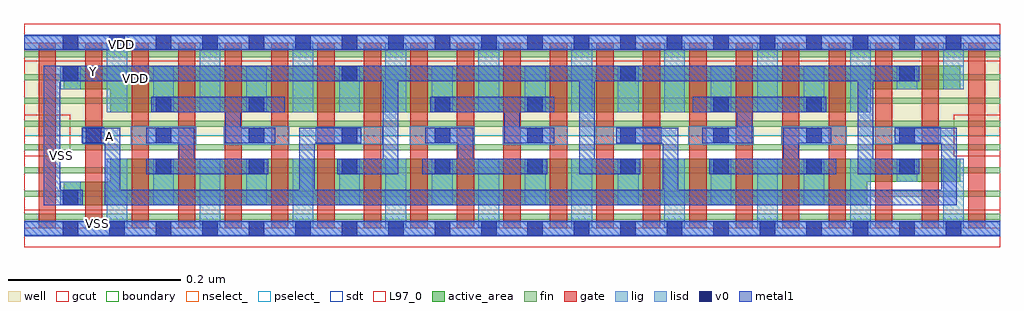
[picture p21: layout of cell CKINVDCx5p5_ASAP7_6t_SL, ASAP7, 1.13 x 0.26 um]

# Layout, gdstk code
import gdstk
lib = gdstk.Library(unit=1e-6, precision=2.5e-10)
def R(c, l, rs):  # rectangles x0, y0, x1, y1
    for r in rs: c.add(gdstk.rectangle(r[:2], r[2:], *l))
def A(c, l, x, y, w, h, nx, ny, dx, dy):  # array of equal rectangles
    R(c, l, [(x+i*dx, y+j*dy, x+i*dx+w, y+j*dy+h) for i in range(nx) for j in range(ny)])
def P(c, l, *ps):  # polygons
    for p in ps: c.add(gdstk.Polygon(p, *l))
well = (1, 0)
fin = (2, 0)
gate = (7, 0)
gcut = (10, 0)
active_area = (11, 0)
nselect_ = (12, 0)
pselect_ = (13, 0)
lig = (16, 0)
lisd = (17, 0)
v0 = (18, 0)
metal1 = (19, 0)
sdt = (88, 0)
L97_0 = (97, 0)
boundary = (100, 0)

ckinvdcx5p5_asap7_6t_sl = lib.new_cell('CKINVDCx5p5_ASAP7_6t_SL')
R(ckinvdcx5p5_asap7_6t_sl, well, [(0,0.108,1.134,0.216)])
A(ckinvdcx5p5_asap7_6t_sl, fin, 0, 0.01, 1.134, 0.007, 1, 8, 0, 0.027)
A(ckinvdcx5p5_asap7_6t_sl, gate, 0.017, 0, 0.02, 0.216, 21, 1, 0.054, 0)
R(ckinvdcx5p5_asap7_6t_sl, gcut, [(0,-0.022,1.134,0.022), (0,0.084,0.054,0.132), (1.08,0.084,1.134,0.132), (0,0.194,1.134,0.238)])
P(ckinvdcx5p5_asap7_6t_sl, active_area, [(1.088,0.189),(0.046,0.189),(0.046,0.162),(0.1,0.162),(0.1,0.135),(0.98,0.135),(0.98,0.162),(1.088,0.162)],
  [(1.088,0.081),(0.1,0.081),(0.1,0.054),(0.046,0.054),(0.046,0.027),(0.98,0.027),(0.98,0.054),(1.088,0.054)])
R(ckinvdcx5p5_asap7_6t_sl, nselect_, [(0,0,1.134,0.108)])
R(ckinvdcx5p5_asap7_6t_sl, pselect_, [(0,0.108,1.134,0.216)])
A(ckinvdcx5p5_asap7_6t_sl, lig, 0.339, 0.098, 0.078, 0.02, 3, 1, 0.324, 0)
R(ckinvdcx5p5_asap7_6t_sl, lig, [(0,-0.008,1.134,0.008), (0.124,0.097,0.2,0.119), (0.232,0.097,0.308,0.119), (0.448,0.097,0.524,0.119), (0.556,0.097,0.632,0.119), (0.772,0.097,0.848,0.119), (0.88,0.097,0.956,0.119), (0.068,0.098,0.093,0.118), (0,0.208,1.134,0.224)])
A(ckinvdcx5p5_asap7_6t_sl, lisd, 0.096, 0, 0.024, 0.081, 10, 1, 0.108, 0)
A(ckinvdcx5p5_asap7_6t_sl, lisd, 0.15, 0.027, 0.024, 0.054, 8, 2, 0.108, 0.108)
A(ckinvdcx5p5_asap7_6t_sl, lisd, 0.096, 0.135, 0.024, 0.081, 9, 1, 0.108, 0)
R(ckinvdcx5p5_asap7_6t_sl, lisd, [(0.042,0.027,0.066,0.054), (1.014,0.054,1.038,0.081), (0.042,0.162,0.066,0.189), (1.014,0.162,1.038,0.189), (1.068,0.162,1.092,0.216)])
A(ckinvdcx5p5_asap7_6t_sl, v0, 0.045, -0.009, 0.018, 0.018, 20, 2, 0.054, 0.216)
A(ckinvdcx5p5_asap7_6t_sl, v0, 0.153, 0.063, 0.018, 0.018, 9, 2, 0.108, 0.036)
A(ckinvdcx5p5_asap7_6t_sl, v0, 0.045, 0.171, 0.018, 0.018, 4, 1, 0.324, 0)
R(ckinvdcx5p5_asap7_6t_sl, v0, [(0.045,0.027,0.063,0.045), (0.072,0.099,0.09,0.117), (0.153,0.135,0.171,0.153), (0.261,0.135,0.279,0.153), (0.477,0.135,0.495,0.153), (0.585,0.135,0.603,0.153), (0.801,0.135,0.819,0.153), (0.909,0.135,0.927,0.153)])
R(ckinvdcx5p5_asap7_6t_sl, metal1, [(0,-0.009,1.134,0.009), (0,0.207,1.134,0.225)])
P(ckinvdcx5p5_asap7_6t_sl, metal1, [(0.284,0.081),(0.198,0.081),(0.198,0.117),(0.142,0.117),(0.142,0.099),(0.18,0.099),(0.18,0.081),(0.142,0.081),(0.142,0.063),(0.284,0.063)],
  [(0.303,0.153),(0.148,0.153),(0.148,0.135),(0.234,0.135),(0.234,0.099),(0.292,0.099),(0.292,0.117),(0.252,0.117),(0.252,0.135),(0.303,0.135)],
  [(0.608,0.081),(0.522,0.081),(0.522,0.117),(0.466,0.117),(0.466,0.099),(0.504,0.099),(0.504,0.081),(0.463,0.081),(0.463,0.063),(0.608,0.063)],
  [(0.616,0.117),(0.576,0.117),(0.576,0.135),(0.616,0.135),(0.616,0.153),(0.472,0.153),(0.472,0.135),(0.558,0.135),(0.558,0.099),(0.616,0.099)],
  [(1.084,0.117),(1.012,0.117),(1.012,0.099),(1.066,0.099),(1.066,0.045),(0.76,0.045),(0.76,0.117),(0.688,0.117),(0.688,0.099),(0.742,0.099),(0.742,0.045),(0.338,0.045),(0.338,0.099),(0.392,0.099),(0.392,0.117),(0.32,0.117),(0.32,0.045),(0.112,0.045),(0.112,0.117),(0.067,0.117),(0.067,0.099),(0.094,0.099),(0.094,0.027),(1.084,0.027)],
  [(1.04,0.081),(0.987,0.081),(0.987,0.171),(1.04,0.171),(1.04,0.189),(0.023,0.189),(0.023,0.027),(0.068,0.027),(0.068,0.045),(0.042,0.045),(0.042,0.171),(0.417,0.171),(0.417,0.081),(0.364,0.081),(0.364,0.063),(0.435,0.063),(0.435,0.171),(0.645,0.171),(0.645,0.063),(0.716,0.063),(0.716,0.081),(0.663,0.081),(0.663,0.171),(0.969,0.171),(0.969,0.063),(1.04,0.063)],
  [(0.932,0.153),(0.777,0.153),(0.777,0.135),(0.828,0.135),(0.828,0.117),(0.788,0.117),(0.788,0.099),(0.846,0.099),(0.846,0.135),(0.932,0.135)],
  [(0.944,0.081),(0.9,0.081),(0.9,0.099),(0.938,0.099),(0.938,0.117),(0.882,0.117),(0.882,0.081),(0.796,0.081),(0.796,0.063),(0.944,0.063)])
A(ckinvdcx5p5_asap7_6t_sl, sdt, 0.096, 0.027, 0.024, 0.054, 17, 2, 0.054, 0.108)
R(ckinvdcx5p5_asap7_6t_sl, sdt, [(0.042,0.027,0.066,0.054), (1.014,0.054,1.038,0.081), (1.068,0.054,1.092,0.081), (0.042,0.162,0.066,0.189), (1.014,0.162,1.038,0.189), (1.068,0.162,1.092,0.189)])
R(ckinvdcx5p5_asap7_6t_sl, L97_0, [(0,0,1.134,0.216)])
R(ckinvdcx5p5_asap7_6t_sl, boundary, [(0,0,1.134,0.216)])
ckinvdcx5p5_asap7_6t_sl.add(gdstk.Label('VDD', (0.13,0.174), layer=1, texttype=251))
ckinvdcx5p5_asap7_6t_sl.add(gdstk.Label('VSS', (0.043,0.085), layer=3, texttype=251))
ckinvdcx5p5_asap7_6t_sl.add(gdstk.Label('VSS', (0.085,0.006), layer=19, texttype=251))
ckinvdcx5p5_asap7_6t_sl.add(gdstk.Label('VDD', (0.113,0.2135), layer=19, texttype=251))
ckinvdcx5p5_asap7_6t_sl.add(gdstk.Label('Y', (0.081,0.182), layer=19, texttype=251))
ckinvdcx5p5_asap7_6t_sl.add(gdstk.Label('A', (0.099,0.107), layer=19, texttype=251))

lib.write_gds('CKINVDCx5p5_ASAP7_6t_SL.gds')
